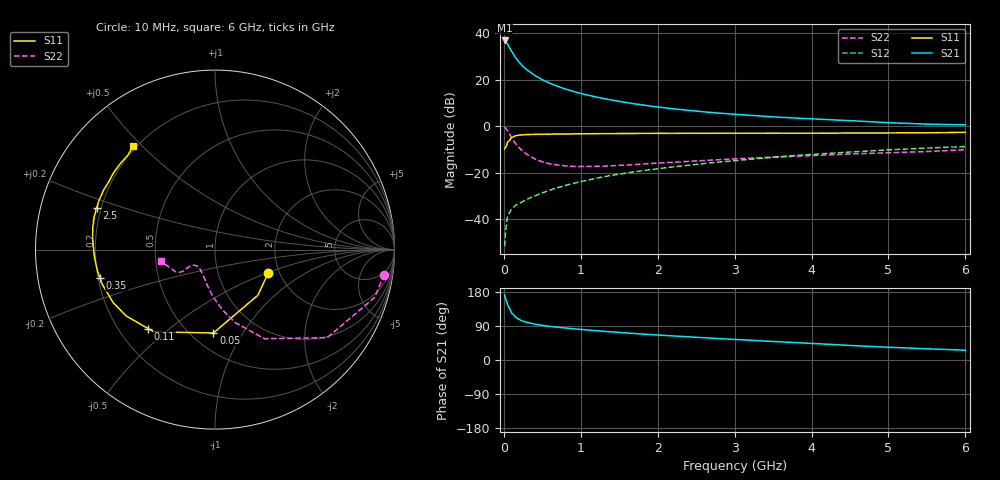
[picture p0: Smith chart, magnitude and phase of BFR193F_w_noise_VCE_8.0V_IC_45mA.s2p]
! (c) 2017  Infineon Technologies AG, Munich
! Infineon Technologies  Discrete & RF Semiconductors
! BFR193F
! VCE =  8.0 V,  IC =  45 mA
! Common Emitter S-Parameters:  Jan 2017
# GHz  S  MA  R  50
!  f  S11  S21  S12  S22
! GHz  MAG  ANG  MAG  ANG  MAG  ANG  MAG  ANG
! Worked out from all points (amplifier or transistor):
!   77 points, 10 MHz to 6 GHz, reference 50 ohm
!   highest |S21| = 36.9 dB at 10 MHz (marker M1)
!   |S21| within 3 dB of that: start of sweep to 72.38 MHz
!   unconditionally stable (mu >= 1): 941.4 MHz to 2.594 GHz
!   at 130 MHz: K = 0.44, MSG = 32.8 dB, |S12| = -34.8 dB
!   at 2.2 GHz: K = 1.02, MAG = 11.8 dB, |S12| = -17.6 dB
!   at 6 GHz: K = 0.86, MSG = 4.7 dB, |S12| = -8.8 dB
!   lowest NFmin = 1.41 dB at 450 MHz
!   S11 on the Smith chart (normalised r, x): 10 MHz: 1.75, -0.51; 50 MHz: 0.64, -0.75; 110 MHz: 0.32, -0.42; 350 MHz: 0.21, -0.12; 2.5 GHz: 0.18, +0.17; 6 GHz: 0.19, +0.47
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0.01  0.3237 -23.6  69.67 171.7  0.0026 84.8  0.9526 -8.4
0.02  0.349 -46.8  67.24 163.7  0.0047 84.3  0.9291 -16.6
0.05  0.4646 -91.1  57.49 144.3  0.0115 64.8  0.7951 -38.1
0.1  0.5712 -126.7  40.85 124.1  0.0164 54.7  0.5683 -60.9
0.11  0.5764 -130.2  38.63 122.4  0.017 53.8  0.5379 -63.0
0.15  0.6172 -143.2  30.16 113.4  0.0195 50.6  0.4256 -74.1
0.2  0.6396 -152.4  23.59 106.9  0.0214 52.6  0.3417 -82.6
0.25  0.6482 -159.0  19.22 102.5  0.0241 54.2  0.2823 -89.5
0.3  0.6576 -163.2  16.25 99.3  0.0265 55.9  0.2464 -94.8
0.35  0.6604 -166.1  14.29 97.3  0.0289 58.0  0.2212 -98.7
0.4  0.6648 -169.0  12.34 94.6  0.0313 59.7  0.1972 -103.6
0.5  0.6678 -172.7  9.947 91.4  0.0364 63.0  0.1699 -110.3
0.6  0.6716 -175.7  8.334 88.7  0.042 65.1  0.1539 -116.5
0.8  0.6758 179.9  6.277 84.5  0.0527 68.5  0.1388 -126.1
1.1  0.6843 174.9  4.602 79.0  0.0692 71.3  0.1356 -135.0
1.5  0.6918 170.0  3.406 72.9  0.0922 72.8  0.1429 -142.2
2.1  0.6977 163.8  2.469 64.8  0.1264 72.9  0.1632 -146.2
2.5  0.6997 160.5  2.103 60.0  0.1497 72.6  0.1775 -146.5
3.1  0.702 155.3  1.751 53.3  0.1862 71.6  0.2004 -145.6
4.1  0.7032 146.6  1.406 42.7  0.2515 67.8  0.2351 -147.7
5.1  0.7128 136.9  1.167 32.8  0.313 62.4  0.2691 -157.6
6  0.7342 128.5  1.062 25.8  0.363 57.2  0.3101 -167.9
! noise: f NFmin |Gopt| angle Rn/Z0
0.45  1.41  0.45  180  0.07
0.9  1.49  0.46  -179  0.07
1.9  2.06  0.59  -164  0.09
2.4  2.37  0.61  -156  0.14
